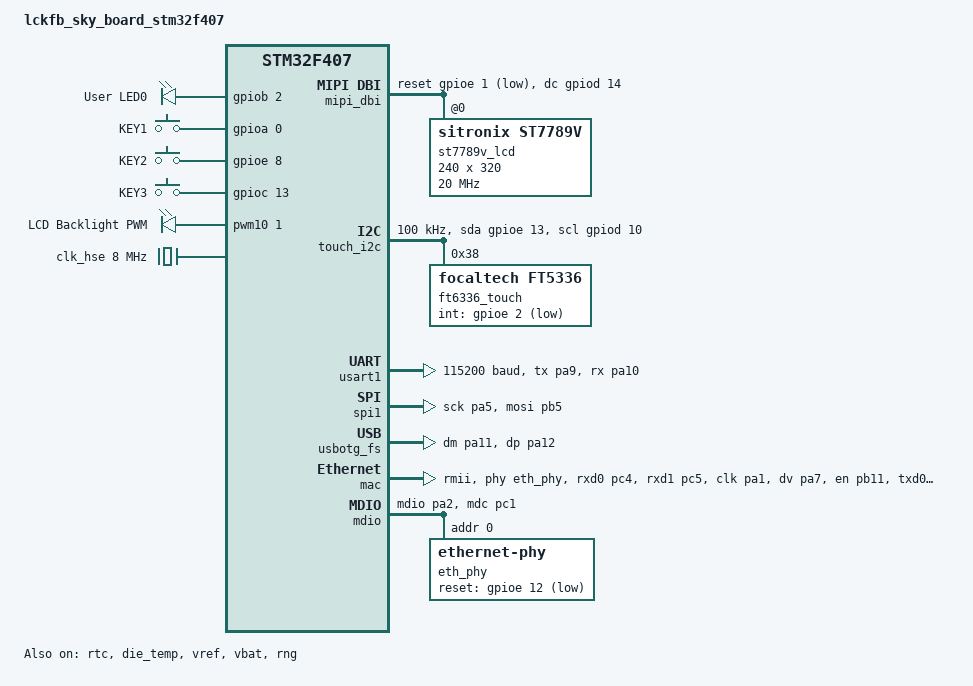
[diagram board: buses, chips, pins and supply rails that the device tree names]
/*
 * Copyright (c) 2017 Linaro Limited
 *
 * SPDX-License-Identifier: Apache-2.0
 */

/dts-v1/;
#include <st/f4/stm32f407Xg.dtsi>
#include <st/f4/stm32f407v(e-g)tx-pinctrl.dtsi>
#include <zephyr/dt-bindings/gpio/gpio.h>
#include <zephyr/dt-bindings/input/input-event-codes.h>
#include <zephyr/dt-bindings/mipi_dbi/mipi_dbi.h>
#include <zephyr/dt-bindings/pwm/pwm.h>

/ {
	model = "lckfb_sky_board_stm32f407";
	compatible = "lckfb,sky_board_stm32f407";

	chosen {
		zephyr,console = &usart1;
		zephyr,shell-uart = &usart1;
		zephyr,sram = &sram0;
		zephyr,flash = &flash0;
		zephyr,dtcm = &ccm0;
		zephyr,display = &st7789v_lcd;
	};

	leds {
		compatible = "gpio-leds";
		user_led0: led_0 {
			gpios = <&gpiob 2 GPIO_ACTIVE_HIGH>;
			label = "User LED0";
		};
	};

	gpio_keys {
		compatible = "gpio-keys";
		key1: button_1 {
			label = "KEY1";
			gpios = <&gpioa 0 GPIO_ACTIVE_HIGH>;
			zephyr,code = <INPUT_KEY_0>;
		};

		key2: button_2 {
			label = "KEY2";
			gpios = <&gpioe 8 GPIO_ACTIVE_HIGH>;
			zephyr,code = <INPUT_KEY_1>;
		};

		key3: button_3 {
			label = "KEY3";
			gpios = <&gpioc 13 GPIO_ACTIVE_HIGH>;
			zephyr,code = <INPUT_KEY_2>;
		};
	};

	lcd_backlight: lcd_backlight {
		compatible = "pwm-leds";
		backlight_pwm: backlight_pwm {
			/* PB8 is active-low for backlight enable on this board. */
			pwms = <&pwm10 1 PWM_USEC(100) PWM_POLARITY_INVERTED>;
			label = "LCD Backlight PWM";
		};
	};

	mipi_dbi {
		compatible = "zephyr,mipi-dbi-spi";
		spi-dev = <&spi1>;
		dc-gpios = <&gpiod 14 GPIO_ACTIVE_HIGH>;
		reset-gpios = <&gpioe 1 GPIO_ACTIVE_LOW>;
		write-only;
		#address-cells = <1>;
		#size-cells = <0>;

		st7789v_lcd: st7789v@0 {
			compatible = "sitronix,st7789v";
			reg = <0>;
			mipi-max-frequency = <20000000>;
			mipi-mode = "MIPI_DBI_MODE_SPI_4WIRE";
			width = <240>;
			height = <320>;
			x-offset = <0>;
			y-offset = <0>;
			vcom = <0x19>;
			gctrl = <0x35>;
			vrhs = <0x12>;
			vdvs = <0x20>;
			mdac = <0x00>;
			gamma = <0x01>;
			colmod = <0x05>;
			lcm = <0x2c>;
			porch-param = [0c 0c 00 33 33];
			cmd2en-param = [5a 69 02 01];
			pwctrl1-param = [a4 a1];
			pvgam-param = [d0 04 0d 11 13 2b 3f 54 4c 18 0d 0b 1f 23];
			nvgam-param = [d0 04 0c 11 13 2c 3f 44 51 2f 1f 1f 20 23];
			ram-param = [00 f0];
			rgb-param = [cd 08 14];
		};
	};

	touch_i2c: touch_i2c {
		compatible = "gpio-i2c";
		status = "okay";
		#address-cells = <1>;
		#size-cells = <0>;
		clock-frequency = <100000>;
		scl-gpios = <&gpiod 10 (GPIO_OPEN_DRAIN | GPIO_PULL_UP)>;
		sda-gpios = <&gpioe 13 (GPIO_OPEN_DRAIN | GPIO_PULL_UP)>;

		/* FT6336 is commonly register-compatible with FT5336 driver path. */
		ft6336_touch: touch@38 {
			compatible = "focaltech,ft5336";
			reg = <0x38>;
			int-gpios = <&gpioe 2 GPIO_ACTIVE_LOW>;
			screen-width = <240>;
			screen-height = <320>;
			status = "okay";
		};
	};

	aliases {
		led0 = &user_led0;
		pwm-led0 = &backlight_pwm;
		sw0 = &key1;
		sw1 = &key2;
		sw2 = &key3;
		die-temp0 = &die_temp;
		volt-sensor0 = &vref;
		volt-sensor1 = &vbat;
	};
};

&clk_lsi {
	status = "okay";
};

&clk_hse {
	clock-frequency = <DT_FREQ_M(8)>;
	status = "okay";
};

&pll {
	div-m = <8>;
	mul-n = <336>;
	div-p = <2>;
	div-q = <7>;
	clocks = <&clk_hse>;
	status = "okay";
};

&rcc {
	clocks = <&pll>;
	clock-frequency = <DT_FREQ_M(168)>;
	ahb-prescaler = <1>;
	apb1-prescaler = <4>;
	apb2-prescaler = <2>;
};
&usart1 {
	pinctrl-0 = <&usart1_tx_pa9 &usart1_rx_pa10>;
	pinctrl-names = "default";
	current-speed = <115200>;
	status = "okay";
};

&spi1 {
	pinctrl-0 = <&spi1_sck_pa5 &spi1_mosi_pb5>;
	pinctrl-names = "default";
	cs-gpios = <&gpioe 14 GPIO_ACTIVE_LOW>;
	status = "okay";
};

&timers10 {
	status = "disabled";
	pwm10: pwm {
		status = "okay";
		pinctrl-0 = <&tim10_ch1_pb8>;
		pinctrl-names = "default";
	};
};

&rtc {
	clocks = <&rcc STM32_CLOCK(APB1, 28)>,
		 <&rcc STM32_SRC_LSI RTC_SEL(2)>;
	status = "okay";

	backup_regs {
		status = "okay";
	};
};

zephyr_udc0: &usbotg_fs {
	pinctrl-0 = <&usb_otg_fs_dm_pa11 &usb_otg_fs_dp_pa12>;
	pinctrl-names = "default";
	status = "okay";
};

&die_temp {
	status = "okay";
};

&vref {
	status = "okay";
};

&vbat {
	status = "okay";
};

&mac {
	status = "okay";
	pinctrl-0 = <&eth_rxd0_pc4
		     &eth_rxd1_pc5
		     &eth_ref_clk_pa1
		     &eth_crs_dv_pa7
		     &eth_tx_en_pb11
		     &eth_txd0_pb12
		     &eth_txd1_pb13>;
	pinctrl-names = "default";
	phy-connection-type = "rmii";
	phy-handle = <&eth_phy>;
};

&mdio {
	status = "okay";
	pinctrl-0 = <&eth_mdio_pa2 &eth_mdc_pc1>;
	pinctrl-names = "default";

	eth_phy: ethernet-phy@0 {
		compatible = "ethernet-phy";
		reg = <0x0>;
		reset-gpios = <&gpioe 12 GPIO_ACTIVE_LOW>;
		reset-assert-duration-us = <10000>;
		reset-deassertion-timeout-ms = <50>;
	};
};

&rng {
	status = "okay";
};

&dma1 {
	status = "okay";
};
